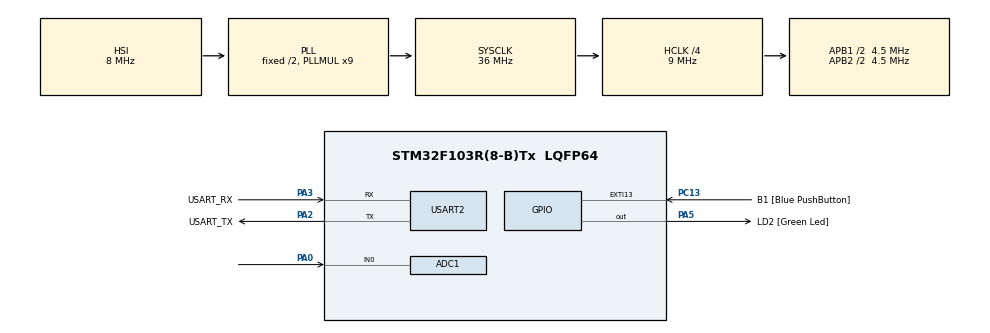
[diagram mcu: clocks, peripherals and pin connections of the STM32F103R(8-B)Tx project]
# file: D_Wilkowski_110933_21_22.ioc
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ADC1.Channel-1\#ChannelRegularConversion=ADC_CHANNEL_0
ADC1.ContinuousConvMode=ENABLE
ADC1.EnableInjectedConversion=ENABLE
ADC1.NbrOfConversionFlag=1
ADC1.Rank-1\#ChannelRegularConversion=1
ADC1.SamplingTime-1\#ChannelRegularConversion=ADC_SAMPLETIME_41CYCLES_5
ADC1.master=1
Dma.ADC1.0.Direction=DMA_PERIPH_TO_MEMORY
Dma.ADC1.0.Instance=DMA1_Channel1
Dma.ADC1.0.MemDataAlignment=DMA_MDATAALIGN_HALFWORD
Dma.ADC1.0.MemInc=DMA_MINC_ENABLE
Dma.ADC1.0.Mode=DMA_CIRCULAR
Dma.ADC1.0.PeriphDataAlignment=DMA_PDATAALIGN_HALFWORD
Dma.ADC1.0.PeriphInc=DMA_PINC_DISABLE
Dma.ADC1.0.Priority=DMA_PRIORITY_LOW
Dma.Request0=ADC1
Mcu.Family=STM32F1
Mcu.Name=STM32F103R(8-B)Tx
Mcu.Package=LQFP64
NVIC.DMA1_Channel1_IRQn=true\:0\:0\:false\:false\:true\:false\:true
NVIC.EXTI15_10_IRQn=true\:0\:0\:false\:false\:true\:true\:true
NVIC.PriorityGroup=NVIC_PRIORITYGROUP_4
NVIC.USART2_IRQn=true\:0\:0\:false\:false\:true\:true\:true
PA0-WKUP.Signal=ADCx_IN0
PA13.GPIO_Label=TMS
PA13.Mode=Serial_Wire
PA13.Signal=SYS_JTMS-SWDIO
PA14.GPIO_Label=TCK
PA14.Mode=Serial_Wire
PA14.Signal=SYS_JTCK-SWCLK
PA2.GPIO_Label=USART_TX
PA2.GPIO_Mode=GPIO_MODE_AF_PP
PA2.GPIO_PuPd=GPIO_NOPULL
PA2.GPIO_Speed=GPIO_SPEED_FREQ_LOW
PA2.Mode=Asynchronous
PA2.Signal=USART2_TX
PA3.GPIO_Label=USART_RX
PA3.GPIO_Mode=GPIO_MODE_AF_PP
PA3.GPIO_PuPd=GPIO_NOPULL
PA3.GPIO_Speed=GPIO_SPEED_FREQ_LOW
PA3.Mode=Asynchronous
PA3.Signal=USART2_RX
PA5.GPIO_Label=LD2 [Green Led]
PA5.GPIO_ModeDefaultOutputPP=GPIO_MODE_OUTPUT_PP
PA5.GPIO_PuPd=GPIO_NOPULL
PA5.GPIO_Speed=GPIO_SPEED_FREQ_LOW
PA5.Signal=GPIO_Output
PB3.GPIO_Label=SWO
PB3.Signal=SYS_JTDO-TRACESWO
PC13-TAMPER-RTC.GPIO_Label=B1 [Blue PushButton]
PC13-TAMPER-RTC.GPIO_PuPd=GPIO_NOPULL
PC13-TAMPER-RTC.Signal=GPXTI13
PC14-OSC32_IN.Mode=LSE-External-Oscillator
PC14-OSC32_IN.Signal=RCC_OSC32_IN
PC15-OSC32_OUT.Mode=LSE-External-Oscillator
PC15-OSC32_OUT.Signal=RCC_OSC32_OUT
PD0-OSC_IN.Mode=HSE-External-Clock-Source
PD0-OSC_IN.Signal=RCC_OSC_IN
PD1-OSC_OUT.Mode=HSE-External-Clock-Source
PD1-OSC_OUT.Signal=RCC_OSC_OUT
ProjectManager.HeapSize=0x200
ProjectManager.StackSize=0x400
ProjectManager.TargetToolchain=STM32CubeIDE
RCC.ADCPresc=RCC_ADCPCLK2_DIV8
RCC.AHBCLKDivider=RCC_SYSCLK_DIV4
RCC.AHBFreq_Value=9000000
RCC.APB1CLKDivider=RCC_HCLK_DIV2
RCC.APB1Freq_Value=4500000
RCC.APB1TimFreq_Value=9000000
RCC.APB2CLKDivider=RCC_HCLK_DIV2
RCC.APB2Freq_Value=4500000
RCC.APB2TimFreq_Value=9000000
RCC.HCLKFreq_Value=9000000
RCC.PLLMUL=RCC_PLL_MUL9
RCC.RTCClockSelection=RCC_RTCCLKSOURCE_LSE
RCC.SYSCLKFreq_VALUE=36000000
RCC.SYSCLKSource=RCC_SYSCLKSOURCE_PLLCLK
RCC.USBFreq_Value=36000000
SH.ADCx_IN0.0=ADC1_IN0,IN0
USART2.VirtualMode=VM_ASYNC
board=NUCLEO-F103RB

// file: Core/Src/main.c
/* USER CODE BEGIN Header */
/**
 ******************************************************************************
 * @file           : main.c
 * @brief          : Main program body
 ******************************************************************************
 * @attention
 *
 * Copyright (c) 2021 STMicroelectronics.
 * All rights reserved.
 *
 * This software is licensed under terms that can be found in the LICENSE file
 * in the root directory of this software component.
 * If no LICENSE file comes with this software, it is provided AS-IS.
 *
 ******************************************************************************
 */
/* USER CODE END Header */
#include "main.h"

/* USER CODE BEGIN Includes */
#include <stdarg.h>
#include <string.h>
#include <stdlib.h>
#include <math.h>
#include <stdio.h>
/* USER CODE END Includes */

ADC_HandleTypeDef hadc1;
DMA_HandleTypeDef hdma_adc1;

UART_HandleTypeDef huart2;

void SystemClock_Config(void);
static void MX_GPIO_Init(void);
static void MX_USART2_UART_Init(void);
static void MX_DMA_Init(void);
static void MX_ADC1_Init(void);
/* USER CODE BEGIN PFP */
void errorKomenda();
void errorKodowanie();
void wyslijTrybPracyJeden();
void wyslijTrybPracyDwa();
void wyslijGranica();
void analyseStart(int);
void wyslijSetGranica();
int wystepujeKorelacja();
double* korelacjaWzajemna();
/* USER CODE END PFP */

/* USER CODE BEGIN 0 */
// =============== ZMIENNE ===============
#define RX_BUFF_SIZE 512
#define TX_BUFF_SIZE 512
#define DATA_BUFF_SIZE 2048
#define ilosc_probek 150

__IO char BUFF_RX[RX_BUFF_SIZE];
__IO char BUFF_TX[TX_BUFF_SIZE];
__IO uint16_t BUFF_DATA[DATA_BUFF_SIZE];

__IO uint16_t EmptyRx = 0;
__IO uint16_t BusyRx = 0;
__IO uint16_t EmptyTx = 0;
__IO uint16_t BusyTx = 0;

__IO uint16_t granica = 3300;
__IO uint16_t dataIndex = 0; // 0 - polowa danych, 1023 - druga polowa danych
__IO uint8_t trybPracy = 1;
__IO uint8_t dataReady = 0;
__IO uint16_t count = 0;
__IO char temp;

uint8_t buforRamki[RX_BUFF_SIZE];
uint8_t stan = 0;

char device_address[3] = "STM";
char source_address[3]="DAW";
char destination_address[4];
uint16_t dlugoscRamki = 0;
int cmdLength;
uint8_t znak;
char wiadomosc[RX_BUFF_SIZE];

//======= ZMIENNE - suma kontrolna ===========
char suma_kontrolna[5];
char odebranaGranica[5];
int sumaNadOdb = 464;
uint16_t suma_wyliczona = 0;
int podana_suma_kontrolna=0;

//======= ZMIENNE - korelacja ===========
uint8_t przekroczonoGranice = 0;//
double wspolczynnik = 0;
uint8_t iloscPstryk= 0; //liczy pstrykniecia
int pstrykniecie[150];

int wzor_pstrykniecia[150] = { 2046,2061,2080,2124,2118,2131,2140,2147,2140,
2150,2162,2171,2188,2191,2201,2225,2250,2232,2254,2265,2278,2283,2312,
2302,2285,2294,2287,2320,2277,2286,2296,2258,2346,2268,2271,2249,2278,
2222,2319,2198,2236,2127,2185,2148,2183,2058,1965,1796,1661,891,4007,
1852,2591,4007,4007,0,0,4004,4004,0,4005,0,216,1368,4007,4005,4007,0,
2282,0,3995,4006,4007,4007,181,0,0,0,4009,4007,4007,3241,0,0,0,4009,
4007,3630,2856,0,0,1695,1119,3842,3209,2563,1396,296,448,1534,2423,3500,
2128,1762,1251,171,1234,1584,2800,2646,2401,1686,1188,1088,1453,2238,2150,
2677,2138,1239,1311,1153,1914,2395,2441,2224,1639,911,1659,1480,2113,2445,
2213,1749,1658,1530,1850,1738,2399,1937,1886,1531,1690,1757,2151,2111,2134,
1732,1752,1967};

// =============== ZMIENNE ===============
// ====================== USART SEND ======================

void send(char *format, ...) {

	char tmp_s[512];
	va_list arglist;
	va_start(arglist, format);
	vsprintf(tmp_s, format, arglist);
	va_end(arglist);

	uint16_t idx = EmptyTx;
	for (int i = 0; i < strlen(tmp_s); i++) {
		BUFF_TX[idx] = tmp_s[i];
		idx++;
		if (idx >= TX_BUFF_SIZE)
			idx = 0;
	}
	__disable_irq();
	if (BusyTx == EmptyTx
	&& __HAL_UART_GET_FLAG(&huart2,UART_FLAG_TXE) == SET) {
		EmptyTx = idx;
		temp = BUFF_TX[BusyTx];
		BusyTx++;
		if (BusyTx >= TX_BUFF_SIZE)
			BusyTx = 0;
		HAL_UART_Transmit_IT(&huart2, &temp, 1);
	} else {
		EmptyTx = idx;
	}
	__enable_irq();
}

// ====================== USART SEND ======================
// ====================== CALLBACK ======================

void HAL_UART_TxCpltCallback(UART_HandleTypeDef *huart) {
	if (huart == &huart2) {
		if (BusyTx != EmptyTx) {
			temp = BUFF_TX[BusyTx];
			BusyTx++;
			if (BusyTx >= TX_BUFF_SIZE)
				BusyTx = 0;
			HAL_UART_Transmit_IT(&huart2, &temp, 1);
		}
	}
}

void HAL_UART_RxCpltCallback(UART_HandleTypeDef *huart) {
	if (huart == &huart2) {
		EmptyRx++;
		if (EmptyRx >= RX_BUFF_SIZE)
			EmptyRx = 0;
	}
	HAL_UART_Receive_IT(&huart2, &BUFF_RX[EmptyRx], 1);
}

void HAL_ADC_ConvHalfCpltCallback(ADC_HandleTypeDef *hadc1) {
	dataReady = 1;
	dataIndex = 0;
}
void HAL_ADC_ConvCpltCallback(ADC_HandleTypeDef *hadc1) {
	dataReady = 1;
	dataIndex = 1023;
}

// ====================== CALLBACK ======================

//========== ANALIZA KOMENDY ============
	void analizaKomendy(char cmd[]) {

		if (!strcmp(cmd, "Tryb1")) {
			trybPracy = 1;
		} else if (!strcmp(cmd, "Tryb2")) {
			trybPracy = 2;
		} else if (!strcmp(cmd, "PokazTryb")) {

			if (trybPracy == 1)
			wyslijTrybPracyJeden();
			else
			wyslijTrybPracyDwa();

		}
		else if(!strcmp(cmd, "GRANICA")){
			wyslijGranica();
		}
		else if(!strncmp(cmd, "SETGRANICA", 9)) {
					memcpy(odebranaGranica, &buforRamki[20], 4);
					odebranaGranica[4]= '\n';
					granica = atoi(odebranaGranica);
					if(granica >2000&&granica <4000){
					wyslijGranica();
					}
					else {
						granica = 3300;

					}

				}
		else {
			errorKomenda();

		}
	}
//========== ANALIZA KOMENDY ============
//========= DEKODOWANIE ============
	void dekoduj() {
		if (znak == '1') {
			buforRamki[dlugoscRamki] = '[';
			dlugoscRamki++;
			stan = 1;
		} else if (znak == '2') {
			buforRamki[dlugoscRamki] = ']';
			dlugoscRamki++;
			stan = 1;
		} else if (znak == '3') {
			buforRamki[dlugoscRamki] = '!';
			dlugoscRamki++;
			stan = 1;
		} else {
			stan = 0;
			errorKodowanie();
		}

	}
//========= DEKODOWANIE ============
//========= ERROR ========
	void errorSumaKontrolna() {
		sprintf(wiadomosc, "[%s%s%dNieprawidlowaSumaKontrolna]\r\n",device_address,source_address,sumaNadOdb+2724);
		send(wiadomosc);
	}
	void errorKomenda(){
		sprintf(wiadomosc,"[%s%s%dNiepoprawnaKomenda]\r\n",device_address,source_address,sumaNadOdb+1859);
		send(wiadomosc);
	}
	void errorKodowanie(){
		sprintf(wiadomosc,"[%s%s%dBladKodowania]\r\n",device_address,source_address,sumaNadOdb+1296);
		send(wiadomosc);
	}
//========== ERROR =======
//========== INFORMACJE ZWROTNE ========
	void start(){
		sprintf(wiadomosc,"[%s%s%dRozpoczynamPrace!]\r\n",device_address,source_address,sumaNadOdb+1720);
		send(wiadomosc);
	}
	void wyslijPstrykJeden(){
		sprintf(wiadomosc,"[%s%s%dPSTRYK1]\r\n",device_address,source_address,sumaNadOdb+542);
		send(wiadomosc);
	}
	void wyslijPstrykDwa(){
		sprintf(wiadomosc,"[%s%s%dPSTRYK2]\r\n",device_address,source_address,sumaNadOdb+543);
		send(wiadomosc);
	}
	void odebranoRamke(){
		sprintf(wiadomosc,"[%s%s%dOdebranoRamke]\r\n",device_address,source_address,sumaNadOdb+1306);
		send(wiadomosc);
	}
	void wyslijTrybPracyJeden(){
		sprintf(wiadomosc,"[%s%s%dTryb1PSTRYK]\r\n",device_address,source_address,sumaNadOdb+959);
		send(wiadomosc);
	}
	void wyslijTrybPracyDwa(){
		sprintf(wiadomosc,"[%s%s%dTryb2PSTRYK]\r\n",device_address,source_address,sumaNadOdb+960);
		send(wiadomosc);
	}
	void wyslijGranica(){
	int granicaTablica[4];
	int granicaKopia = granica;
	int sumaGranicaTablica = 0;
	for (int j = 3; j>=0; j--){//suma kontrolna z wpisanej granicy
	granicaTablica[j] = granicaKopia % 10;// reszta z dzielenia przez 10 => przepisanie int do tablicy
	sumaGranicaTablica += granicaTablica[j] + 48;//do ascii
	granicaKopia/=10;
	}
	sprintf(wiadomosc,"[%s%s%dGRANICA%d]\r\n",device_address,source_address,sumaNadOdb+sumaGranicaTablica+501,granica);
	send(wiadomosc);
	}
//========== INFORMACJE ZWROTNE ========
//========== BADANIE PSTRYKNIECIA - Korelacja======
	void analyseData() {
			if (dataIndex == 0) {
				for (int i = 0; i < 1023; i++) {
					analyseStart(i);
				}
			} else if (dataIndex == 1023) {
				for (int i = 1023; i < 2048; i++) {
					analyseStart(i);
				}
			}
		}
	void analyseStart(int i) {
		if(przekroczonoGranice==0){
		if(BUFF_DATA[i]>granica){
			przekroczonoGranice=1;
			for(int j =i-50;j<i+100;j++){
				if(j<0) j = 2048+j;
				if(j>2048) j =0;
				pstrykniecie[count]=BUFF_DATA[j];
				count++;
				}
			if (wystepujeKorelacja()) {
				przekroczonoGranice=0;
				if(trybPracy==1){wyslijPstrykJeden();}
				else if (trybPracy==2){
					iloscPstryk++;
					if (iloscPstryk == 2 )
					{iloscPstryk = 0;
					wyslijPstrykDwa();}
					}
				}

				else {
					przekroczonoGranice=0;
					iloscPstryk = 0;
				}
			count=0;
	}}}
	int wystepujeKorelacja() {
		double* wspolczynnik = korelacjaWzajemna();

			for (int k = 0; k <=150*2; k++) {
				if (fabs(wspolczynnik[k]) > 0.50) {
					return 1;
				}
			}

			return 0;
	}

	double* korelacjaWzajemna() {
		double suma_x = 0.0;
		double suma_y = 0.0;
		double srednia_x = 0.0;
		double srednia_y = 0.0;
		double wyr_1, wyr_2, licznik;
		double kw_szereg_x = 0.0;
		double kw_szereg_y = 0.0;
		static double korelacja[20];
		int opoznienie, i;
		int opoznienie_max = 10;
		//liczenie sumy
		int z;
		for (z = 0; z < ilosc_probek; z++) {
			suma_x += wzor_pstrykniecia[z];
			suma_y += pstrykniecie[z];
		}
		//srednia
		srednia_x = suma_x / ilosc_probek;
		srednia_y = suma_y / ilosc_probek;
		//korelacja
		for (opoznienie = -opoznienie_max; opoznienie <= opoznienie_max; opoznienie++) {
			//od -10 do 10
			licznik = 0;
			kw_szereg_x = 0;
			kw_szereg_y = 0;

			for (i = 0; i < ilosc_probek; i++) {

				int j = i - opoznienie;
				if (j < 0 || j >= ilosc_probek) {
					wyr_1 = (wzor_pstrykniecia[i] - srednia_x);
					wyr_2 = (srednia_y-srednia_y);//zakładamy że wartosci spoza zakresu przyjmuja wartosc srednia
					licznik += wyr_1 * wyr_2;
					kw_szereg_x += wyr_1 * wyr_1;
					kw_szereg_y += wyr_2 * wyr_2;
				}
				else {
					wyr_1 = (wzor_pstrykniecia[i] - srednia_x);
					wyr_2 = (pstrykniecie[j] - srednia_y);
					licznik += wyr_1 * wyr_2;
					kw_szereg_x += wyr_1 * wyr_1;
					kw_szereg_y += wyr_2 * wyr_2;
				}

			}

			korelacja[opoznienie + opoznienie_max] = licznik / sqrt(kw_szereg_x * kw_szereg_y);
		}

		return korelacja;
	}
//========== BADANIE PSTRYKNIECIA - Korelacja======

/* USER CODE END 0 */

int main(void)
{

  /* MCU Configuration--------------------------------------------------------*/

  /* Reset of all peripherals, Initializes the Flash interface and the Systick. */
  HAL_Init();

  /* Configure the system clock */
  SystemClock_Config();

  /* Initialize all configured peripherals */
  MX_GPIO_Init();
  MX_USART2_UART_Init();
  MX_DMA_Init();
  MX_ADC1_Init();
  /* USER CODE BEGIN 2 */
		HAL_ADC_Start_DMA(&hadc1, (uint32_t*) BUFF_DATA, 2048);
		HAL_UART_Receive_IT(&huart2, &BUFF_RX[EmptyRx], 1);
		start();
  /* USER CODE END 2 */

  /* Infinite loop */
  /* USER CODE BEGIN WHILE */
		 while (1) {
			 if (dataReady) {
			 				dataReady = 0;
			 				analyseData();
			 			}

			if (BusyRx != EmptyRx) {
				znak = BUFF_RX[BusyRx];//Przepisanie z bufora
				BusyRx++;
				if (BusyRx >= RX_BUFF_SIZE) BusyRx = 0;
				if (znak == '[')
					{
					stan = 1;
					dlugoscRamki = 0;
					}
				else if (stan == 1) // stan 1 - odnaleziono początek ramki
					{

					if (znak == '!') stan = 2; //stan 2 - znak wymaga odkodowania
					 else if (znak == ']')
					{
						buforRamki[dlugoscRamki] = '\0';

						if (dlugoscRamki >= 10) // podano więcej znaków, niż minimalna ilość znaków w ramce
							{

							memcpy(source_address, &buforRamki[0], 3);
							memcpy(destination_address, &buforRamki[3], 3);
							memcpy(suma_kontrolna, &buforRamki[6], 4);

							source_address[3] = '\0';
							destination_address[3] = '\0';
							suma_kontrolna[4] = '\0';

							podana_suma_kontrolna = atoi(suma_kontrolna);// jak bedzie jakas bledna wartosc podana to nie przejdzie

							cmdLength = dlugoscRamki - 10;
							if (strncmp(device_address, destination_address, 3) == 0) //jesli poprawny odbiorca
									{
									char cmd[cmdLength + 1];
									memcpy(cmd, &buforRamki[10], cmdLength);
									cmd[cmdLength] = '\0';

									for (int i = 0; i < 3; i++) suma_wyliczona +=(int) source_address[i];
									for (int i = 0; i < 3; i++) suma_wyliczona +=(int) destination_address[i];
									sumaNadOdb = suma_wyliczona;// suma z nadawcy + odbiorcy
									for (int i = 0; i <= cmdLength; i++) suma_wyliczona += (int) cmd[i];

									if (podana_suma_kontrolna == suma_wyliczona) // jeżeli komenda została przysłana
											{
										odebranoRamke();
										analizaKomendy(cmd);
									} else {
										 errorSumaKontrolna();
									}

									suma_wyliczona = 0;

							}
						}

						stan = 0;
						dlugoscRamki = 0;
					}
					 else
					{
						buforRamki[dlugoscRamki] = znak; // zapisuje znak do bufora ramki
						dlugoscRamki++;
						if (dlugoscRamki > (62)) {
							dlugoscRamki = 0;
							stan = 0; //stan - 0 - stan poszukiwania nowego znaku rozpoczecia ramki '['
							break;
						}
					}
				} else if (stan == 2)
				{
					dekoduj();
				}
			}
    /* USER CODE END WHILE */

		}
}

void SystemClock_Config(void)
{
  RCC_OscInitTypeDef RCC_OscInitStruct = {0};
  RCC_ClkInitTypeDef RCC_ClkInitStruct = {0};
  RCC_PeriphCLKInitTypeDef PeriphClkInit = {0};

  /** Initializes the RCC Oscillators according to the specified parameters
  * in the RCC_OscInitTypeDef structure.
  */
  RCC_OscInitStruct.OscillatorType = RCC_OSCILLATORTYPE_HSI;
  RCC_OscInitStruct.HSIState = RCC_HSI_ON;
  RCC_OscInitStruct.HSICalibrationValue = RCC_HSICALIBRATION_DEFAULT;
  RCC_OscInitStruct.PLL.PLLState = RCC_PLL_ON;
  RCC_OscInitStruct.PLL.PLLSource = RCC_PLLSOURCE_HSI_DIV2;
  RCC_OscInitStruct.PLL.PLLMUL = RCC_PLL_MUL9;
  if (HAL_RCC_OscConfig(&RCC_OscInitStruct) != HAL_OK)
  {
    Error_Handler();
  }
  /** Initializes the CPU, AHB and APB buses clocks
  */
  RCC_ClkInitStruct.ClockType = RCC_CLOCKTYPE_HCLK|RCC_CLOCKTYPE_SYSCLK
                              |RCC_CLOCKTYPE_PCLK1|RCC_CLOCKTYPE_PCLK2;
  RCC_ClkInitStruct.SYSCLKSource = RCC_SYSCLKSOURCE_PLLCLK;
  RCC_ClkInitStruct.AHBCLKDivider = RCC_SYSCLK_DIV4;
  RCC_ClkInitStruct.APB1CLKDivider = RCC_HCLK_DIV2;
  RCC_ClkInitStruct.APB2CLKDivider = RCC_HCLK_DIV2;

  if (HAL_RCC_ClockConfig(&RCC_ClkInitStruct, FLASH_LATENCY_1) != HAL_OK)
  {
    Error_Handler();
  }
  PeriphClkInit.PeriphClockSelection = RCC_PERIPHCLK_ADC;
  PeriphClkInit.AdcClockSelection = RCC_ADCPCLK2_DIV8;
  if (HAL_RCCEx_PeriphCLKConfig(&PeriphClkInit) != HAL_OK)
  {
    Error_Handler();
  }
}

static void MX_ADC1_Init(void)
{

  ADC_ChannelConfTypeDef sConfig = {0};

  /** Common config
  */
  hadc1.Instance = ADC1;
  hadc1.Init.ScanConvMode = ADC_SCAN_DISABLE;
  hadc1.Init.ContinuousConvMode = ENABLE;
  hadc1.Init.DiscontinuousConvMode = DISABLE;
  hadc1.Init.ExternalTrigConv = ADC_SOFTWARE_START;
  hadc1.Init.DataAlign = ADC_DATAALIGN_RIGHT;
  hadc1.Init.NbrOfConversion = 1;
  if (HAL_ADC_Init(&hadc1) != HAL_OK)
  {
    Error_Handler();
  }
  /** Configure Regular Channel
  */
  sConfig.Channel = ADC_CHANNEL_0;
  sConfig.Rank = ADC_REGULAR_RANK_1;
  sConfig.SamplingTime = ADC_SAMPLETIME_41CYCLES_5;
  if (HAL_ADC_ConfigChannel(&hadc1, &sConfig) != HAL_OK)
  {
    Error_Handler();
  }

}

static void MX_USART2_UART_Init(void)
{

  huart2.Instance = USART2;
  huart2.Init.BaudRate = 115200;
  huart2.Init.WordLength = UART_WORDLENGTH_8B;
  huart2.Init.StopBits = UART_STOPBITS_1;
  huart2.Init.Parity = UART_PARITY_NONE;
  huart2.Init.Mode = UART_MODE_TX_RX;
  huart2.Init.HwFlowCtl = UART_HWCONTROL_NONE;
  huart2.Init.OverSampling = UART_OVERSAMPLING_16;
  if (HAL_UART_Init(&huart2) != HAL_OK)
  {
    Error_Handler();
  }

}

static void MX_DMA_Init(void)
{

  /* DMA controller clock enable */
  __HAL_RCC_DMA1_CLK_ENABLE();

  /* DMA interrupt init */
  /* DMA1_Channel1_IRQn interrupt configuration */
  HAL_NVIC_SetPriority(DMA1_Channel1_IRQn, 0, 0);
  HAL_NVIC_EnableIRQ(DMA1_Channel1_IRQn);

}

static void MX_GPIO_Init(void)
{
  GPIO_InitTypeDef GPIO_InitStruct = {0};

  /* GPIO Ports Clock Enable */
  __HAL_RCC_GPIOC_CLK_ENABLE();
  __HAL_RCC_GPIOD_CLK_ENABLE();
  __HAL_RCC_GPIOA_CLK_ENABLE();
  __HAL_RCC_GPIOB_CLK_ENABLE();

  /*Configure GPIO pin Output Level */
  HAL_GPIO_WritePin(LD2_GPIO_Port, LD2_Pin, GPIO_PIN_RESET);

  /*Configure GPIO pin : B1_Pin */
  GPIO_InitStruct.Pin = B1_Pin;
  GPIO_InitStruct.Mode = GPIO_MODE_IT_RISING;
  GPIO_InitStruct.Pull = GPIO_NOPULL;
  HAL_GPIO_Init(B1_GPIO_Port, &GPIO_InitStruct);

  /*Configure GPIO pin : LD2_Pin */
  GPIO_InitStruct.Pin = LD2_Pin;
  GPIO_InitStruct.Mode = GPIO_MODE_OUTPUT_PP;
  GPIO_InitStruct.Pull = GPIO_NOPULL;
  GPIO_InitStruct.Speed = GPIO_SPEED_FREQ_LOW;
  HAL_GPIO_Init(LD2_GPIO_Port, &GPIO_InitStruct);

  /* EXTI interrupt init*/
  HAL_NVIC_SetPriority(EXTI15_10_IRQn, 0, 0);
  HAL_NVIC_EnableIRQ(EXTI15_10_IRQn);

}

void Error_Handler(void)
{
		__disable_irq();
		while (1) {
		}
}
